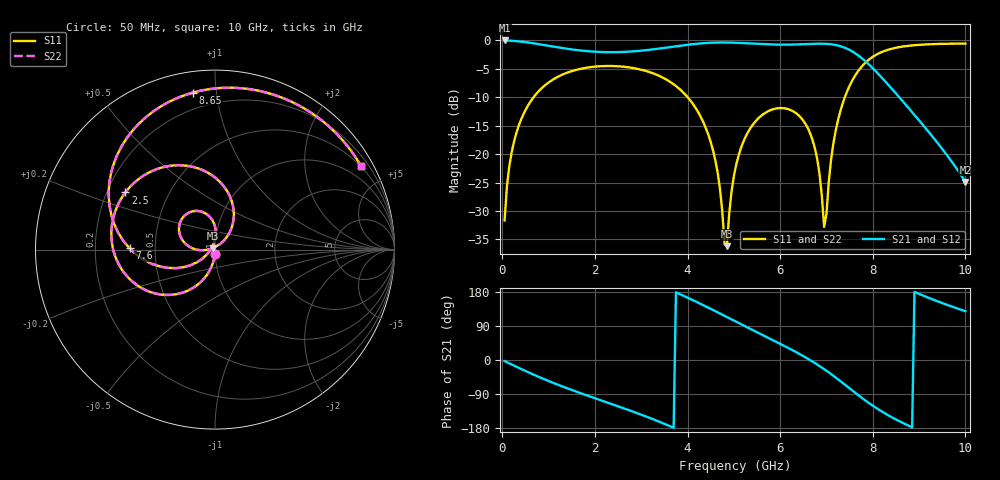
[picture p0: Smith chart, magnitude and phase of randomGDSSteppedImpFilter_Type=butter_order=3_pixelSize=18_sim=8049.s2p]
! freq	dB(S11)	phase(S11)	dB(S12)	phase(S12)
!  dB(S21)	phase(S21)	dB(S22)	phase(S22)
!S-par simulation data
#  GHz  S  DB  R 50
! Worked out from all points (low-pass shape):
!   200 points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, 50 MHz to 10 GHz, reference 50 ohm
!   highest |S21| = -0.01 dB at 50 MHz (marker M1); lowest = -24.9 dB at 10 GHz (marker M2)
!   |S21| within 3 dB of the highest: start of sweep to 7.745 GHz
!   lowest |S11| = -36.2 dB at 4.85 GHz (marker M3), VSWR 1.03, Z = 48.7 + j0.811 ohm
!   |S11| at or under -10 dB: start of sweep to 675.6 MHz; 4.003 GHz to 7.397 GHz (3.394 GHz wide, 59.5 % of centre)
!   |S22| runs from -36.2 to -0.6 dB; largest |S21 - S12| = 0
!   S11 on the Smith chart (normalised r, x): 50 MHz: 1.00, -0.05; 2.5 GHz: 0.28, +0.27; 7.6 GHz: 0.35, +0.01; 8.65 GHz: 0.11, +0.86; 10 GHz: 0.48, +3.70
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0.05  -31.65 -93.2  -0.01 -3.0  -0.01 -3.0  -31.65 -93.2
0.2  -19.77 -102.3  -0.06 -11.8  -0.06 -11.8  -19.77 -102.3
0.5  -12.27 -119.6  -0.31 -29.0  -0.31 -29.0  -12.27 -119.6
1.75  -4.90 179.3  -1.82 -90.1  -1.82 -90.1  -4.90 179.3
2.5  -4.55 147.5  -2.06 -122.2  -2.06 -122.2  -4.55 147.4
3.4  -6.28 106.8  -1.42 -163.4  -1.42 -163.4  -6.28 106.8
4.4  -15.51 54.6  -0.46 141.0  -0.46 141.0  -15.51 54.5
4.65  -23.23 45.6  -0.38 125.7  -0.38 125.7  -23.23 45.5
4.8  -35.83 80.1  -0.37 116.4  -0.37 116.4  -35.88 79.9
4.85  -36.19 147.5  -0.37 113.3  -0.37 113.3  -36.23 147.8
5.05  -21.89 -177.8  -0.42 101.0  -0.42 101.0  -21.89 -177.7
5.85  -12.10 140.7  -0.72 52.2  -0.72 52.2  -12.10 140.7
6.7  -17.52 90.5  -0.60 -4.2  -0.60 -4.2  -17.52 90.3
6.85  -23.45 88.0  -0.58 -15.9  -0.58 -15.9  -23.48 87.4
6.95  -32.80 128.6  -0.59 -24.1  -0.59 -24.1  -33.08 127.7
7.2  -15.83 -147.5  -0.81 -46.3  -0.81 -46.3  -15.84 -147.2
7.6  -6.45 179.2  -2.16 -84.6  -2.16 -84.6  -6.45 179.3
7.95  -3.17 148.1  -4.49 -116.4  -4.49 -116.4  -3.17 148.2
8.35  -1.60 117.5  -7.94 -147.0  -7.94 -147.0  -1.60 117.6
8.65  -1.08 98.0  -10.73 -166.1  -10.73 -166.1  -1.08 98.1
9.25  -0.67 65.0  -16.52 161.9  -16.52 161.9  -0.67 65.1
10  -0.56 29.8  -24.88 128.7  -24.88 128.7  -0.56 29.8
